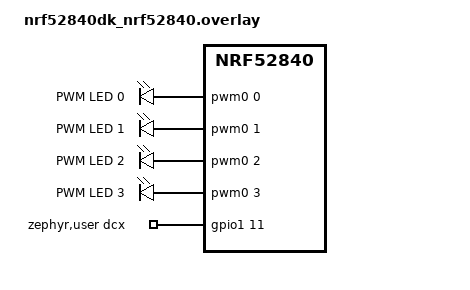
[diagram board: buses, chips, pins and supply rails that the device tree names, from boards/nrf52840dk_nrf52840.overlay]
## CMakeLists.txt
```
#-------------------------------------------------------------------------------
# Zephyr Example Application
#
# Copyright (c) 2021 Nordic Semiconductor ASA
# SPDX-License-Identifier: Apache-2.0

cmake_minimum_required(VERSION 3.13.1)
find_package(Zephyr REQUIRED HINTS $ENV{ZEPHYR_BASE})

project(app LANGUAGES C)

zephyr_include_directories(src)

target_sources(app PRIVATE src/main.c)
target_sources(app PRIVATE src/state_machine.c)
target_sources(app PRIVATE src/ble_peripheral.c)
```

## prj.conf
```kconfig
# Copyright (c) 2021 Nordic Semiconductor ASA
# SPDX-License-Identifier: Apache-2.0
#
# This file contains selected Kconfig options for the application.

CONFIG_GPIO=y
CONFIG_PWM=y
CONFIG_SMF=y
CONFIG_I2C=y

# BLE config
CONFIG_BT=y
CONFIG_BT_PERIPHERAL=y
CONFIG_BT_DEVICE_NAME="EiE 6248 Hardware Monitor"
CONFIG_SYSTEM_WORKQUEUE_STACK_SIZE=2048
# We need to increase buffer sizes to accomodate computer details strings
CONFIG_BT_BUF_ACL_RX_SIZE=67 
CONFIG_BT_L2CAP_TX_MTU=67

# LVGL config
CONFIG_DISPLAY=y
CONFIG_LVGL=y
CONFIG_LV_Z_MEM_POOL_SIZE=16384
CONFIG_MAIN_STACK_SIZE=4096
```

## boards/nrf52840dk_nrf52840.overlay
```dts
/ {
    pwmleds {
        compatible = "pwm-leds";
        pwm_led0: pwm_led_0 {
            pwms = <&pwm0 0 PWM_MSEC(20) PWM_POLARITY_NORMAL>;
            label = "PWM LED 0";
        };
        pwm_led1: pwm_led_1 {
            pwms = <&pwm0 1 PWM_MSEC(20) PWM_POLARITY_NORMAL>;
            label = "PWM LED 1";
        };
        pwm_led2: pwm_led_2 {
            pwms = <&pwm0 2 PWM_MSEC(20) PWM_POLARITY_NORMAL>;
            label = "PWM LED 2";
        };
        pwm_led3: pwm_led_3 {
            pwms = <&pwm0 3 PWM_MSEC(20) PWM_POLARITY_NORMAL>;
            label = "PWM LED 3";
        };
    };

    zephyr,user {
        dcx_gpios = <&gpio1 11 GPIO_ACTIVE_HIGH>; // Specific to the LCD, the dc/x pin, when HIGH, indicates data being sent *TO* the LCD
    };                                            // (active high, where active in this case means master-to-slave)

    arduino_spi {
        cs-gpios = <&gpio1 12 GPIO_ACTIVE_LOW>; // SPI peripherals are active when the pin is pulled to LOW (active low)
    };

    aliases {
        pwm-led0 = &pwm_led0;
        pwm-led1 = &pwm_led1;
        pwm-led2 = &pwm_led2;
        pwm-led3 = &pwm_led3;
    };
};

&pinctrl { 
    pwm0_default: pwm0_default {
		group1 {
			psels = 
                <NRF_PSEL(PWM_OUT0, 0, 13)>, 
                <NRF_PSEL(PWM_OUT1, 0, 14)>, 
                <NRF_PSEL(PWM_OUT2, 0, 15)>, 
                <NRF_PSEL(PWM_OUT3, 0, 16)>;
			nordic,invert;
		};
	};

    pwm0_sleep: pwm0_sleep {
		group1 {
			psels = 
                <NRF_PSEL(PWM_OUT0, 0, 13)>, 
                <NRF_PSEL(PWM_OUT1, 0, 14)>, 
                <NRF_PSEL(PWM_OUT2, 0, 15)>, 
                <NRF_PSEL(PWM_OUT3, 0, 16)>;
			low-power-enable;
		};
	};
};
```

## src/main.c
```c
/** 
 * @file main.c
 */

#include <inttypes.h>
#include <zephyr/kernel.h>
#include <zephyr/device.h>
#include <zephyr/drivers/i2c.h>
#include <zephyr/drivers/display.h>
#include <zephyr/sys/printk.h> 
#include <lvgl.h>

#include "touchscreen_defines.h"
#include "state_machine.h"
#include "ble_peripheral.h"
#include "BTN.h"
#include "LED.h"
#include "lv_data_obj.h"

/**
 * Local variables
 */

extern struct bt_data ble_advertising_data[];
extern struct bt_data ble_scan_response_data[];
extern size_t advertising_data_array_size;
extern size_t scan_response_data_array_size;
int err;


/*

Touchscreen-specific I2C setup

*/

static const struct device* i2c_dev = DEVICE_DT_GET(ARDUINO_I2C_NODE); // Select an I2C "device" from the on-board peripheral

// To send commands to and read responses from the I2C slave
void touch_control_cmd_rsp(uint8_t cmd, uint8_t* rsp) {
  struct i2c_msg cmd_rsp_msg[2] = {
    [0] = {.buf=&cmd, .len=1, .flags=I2C_MSG_WRITE},
    [1] = {.buf=rsp, .len=1, .flags=I2C_MSG_RESTART | I2C_MSG_READ | I2C_MSG_STOP}
  };

  // Send a command to and receive a response from the I2C slave 
  i2c_transfer(i2c_dev, cmd_rsp_msg, 2, TD_ADDR);
}

/*

LVGL setup

*/

// Retrieve the drivers for the LCD (ILI9341) from the Zephyr device tree
static const struct device* display_dev = DEVICE_DT_GET(DT_CHOSEN(zephyr_display));

// An LVGL object representing the LCD we will be displaying content onto
lv_obj_t* screen = NULL;

// To store the x and y position of a touch between checks
// We want these to be static so that the last touch position is stored instead of being set to (0, 0) every call
static uint16_t x_pos;
static uint16_t y_pos;

// LVGL callback that is called to check whether a button has been pressed
void touch_read_cb(lv_indev_t* indev, lv_indev_data_t* data) {
  /*
  LOGICAL STEPS:
  1. Read I2C touchscreen data
  2. Check if a valid touch is detected...
  3. Else if no touch is detected...
  */

  uint8_t touch_status;
  touch_control_cmd_rsp(TD_STATUS, &touch_status); // Get touchscreen status (is it ready?)

  // If screen is currently being held down
  if (touch_status == 1) {
    uint8_t x_pos_h;
    uint8_t x_pos_l;
    uint8_t y_pos_h;
    uint8_t y_pos_l;
    
    touch_control_cmd_rsp(P1_XH, &x_pos_h);
    touch_control_cmd_rsp(P1_XL, &x_pos_l);
    touch_control_cmd_rsp(P1_YH, &y_pos_h);
    touch_control_cmd_rsp(P1_YL, &y_pos_l);

    // Update the "last known" touch position, remember that coordinates are INVERTED on the LCD
    y_pos = ((x_pos_h & TOUCH_POS_MSB_MASK) << 8) + x_pos_l;
    x_pos = ((y_pos_h & TOUCH_POS_MSB_MASK) << 8) + y_pos_l;

    // Now that we know the x and y positions of a touch, send it to LVGL and report a touch
    data->point.x = x_pos;
    data->point.y = y_pos;
    data->state = LV_INDEV_STATE_PRESSED;
  }
  // If the screen isn't currently being touched (released)
  else if (touch_status == 0) {
    data->state = LV_INDEV_STATE_RELEASED;

    // We want to continue to record the last location where a press occured (static variables)
    // because LVGL inteprets a click as a sequence of press, hold, release all at the same x and y positions
    // If we didn't have static variables, and they were set to garbage or (0, 0), LVGL wouldn't properly
    // interpret that a click happened from a specific sequence of events
    data->point.x = x_pos;
    data->point.y = y_pos;

    printk("Press at %u, %u\n", x_pos, y_pos);
  }
}

int main(void) {
  /**
   * Initialization checks
   */

  // If the I2C peripheral is not yet ready
  if(!device_is_ready(i2c_dev)) {
    printk("I2C device not yet ready.\n");
    return 0;
  }

  // Configure I2C device with 100KHz clock on Master mode
  if(0 > i2c_configure(i2c_dev, I2C_SPEED_SET(I2C_SPEED_STANDARD) | I2C_MODE_CONTROLLER)) {
    printk("Error while configuring I2C device.\n");
  }

  if(!device_is_ready(display_dev)) {
    printk("LCD drivers not yet ready.\n");
    return 0;
  }

  // If we get to this point, the LCD drivers are ready and we can initialize the LVGL screen object
  screen = lv_screen_active();
  
  if (screen == NULL) {
    printk("Failed to initialize LVGL screen.\n");
    return 0;
  }

  // "Turn on" the screen so we can actually see things on it
  display_blanking_off(display_dev);

  // Initialize buttons
  if (0 > BTN_init()) {
    printk("Buttons not yet ready.\n");
    return 0;
  }

  // Initialize LEDs
  if (0 > LED_init()) {
    printk("LEDs not yet ready.\n");
    return 0;
  }
  
  // Enable BLE
  err = bt_enable(NULL);
  if (err) {
    printk("Bluetooth init failed (err %d)\n", err);
    return 0;
  } else {
    printk("Bluetooth initialized!\n");
  }

  // Start BLE advertising
  err =
      bt_le_adv_start(BT_LE_ADV_CONN_FAST_1, ble_advertising_data, advertising_data_array_size,
                      ble_scan_response_data, scan_response_data_array_size);
  if (err) {
    printk("Advertising failed to start (err %d)\n", err);
    return 0;
  }

  // Initialize the state machine
  state_machine_init();

  // Set up LVGL so that the button press callback is called every SLEEP_MS period
  // NOTE: "lv_indev" means "LVGL input device", and our input, a touchscreen is of type "pointer" (like a cursor)
  // lv_indev_t* indev = lv_indev_create();
  // lv_indev_set_type(indev, LV_INDEV_TYPE_POINTER);
  // lv_indev_set_read_cb(indev, touch_read_cb);

  // Run the state machine
  while (1) {
    if (0 > state_machine_run()) {
      printk("Error occured while running state machine.\n");
      return 0;
    }

    k_msleep(SLEEP_MS);
  }
  return 0;
}
```

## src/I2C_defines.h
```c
#ifndef I2C_DEFINES_H
#define I2C_DEFINES_H

// "Retrieve" the I2C peripheral from the device tree
#define ARDUINO_I2C_NODE DT_NODELABEL(arduino_i2c)   

// Touchscreen I2C registers
#define TD_ADDR 0x38  // "Touch device" I2C slave address
#define TD_STATUS 0x02
#define P1_XH 0x03
#define P1_XL 0x04
#define P1_YH 0x05
#define P1_YL 0x06

// Touchscreen relevant bit masks/shifts
#define TOUCH_EVENT_MASK 0xC0
#define TOUCH_POS_MSB_MASK 0x0F
#define TOUCH_EVENT_SHIFT 6

typedef enum {
  TOUCH_EVENT_PRESS_DOWN = 0b00u,
  TOUCH_EVENT_LIFT_UP = 0b01u,
  TOUCH_EVENT_CONTACT = 0b10u,
  TOUCH_EVENT_NO_EVENT = 0b11u
} touch_event_t;

#endif
```

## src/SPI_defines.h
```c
#ifndef SPI_DEFINES_H
#define SPI_DEFINES_H

// "Retrieve" the SPI peripheral from the device tree
#define ARDUINO_SPI_NODE DT_NODELABEL(arduino_spi)
#define ZEPHYR_USER_NODE DT_PATH(zephyr_user)

// LCD commands
#define CMD_SOFTWARE_RESET 0x01
#define CMD_SLEEP_OUT 0x11
#define CMD_DISPLAY_ON 0x29
#define CMD_COLUMN_ADDRESS_SET 0x2A
#define CMD_ROW_ADDRESS_SET 0x2B
#define CMD_MEMORY_WRITE 0x2C

#endif
```

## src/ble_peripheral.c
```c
/**
 * @file ble_peripheral.c
 */

#include "ble_peripheral.h"

/**
 * Local variables
 */

// Flag indicating whether or not there is new data for LVGL to re-draw onto the LCD
bool new_data = false;

// + 1 for the null terminators
char ble_system_details[BLE_CUSTOM_CHARACTERISTIC_MAX_DATA_LENGTH + 1];
char ble_cpu_details[BLE_CUSTOM_CHARACTERISTIC_MAX_DATA_LENGTH + 1];
char ble_gpu_details[BLE_CUSTOM_CHARACTERISTIC_MAX_DATA_LENGTH + 1];

static const struct bt_uuid_128 ble_hardware_monitor_service_uuid = BT_UUID_INIT_128(BLE_HARDWARE_MONITOR_SERVICE_UUID);

static const struct bt_uuid_128 ble_cpu_gpu_scalar_metrics_characteristic_uuid =
    BT_UUID_INIT_128(BLE_CPU_GPU_SCALAR_METRICS_CHARACTERISTIC);

static const struct bt_uuid_128 ble_network_scalar_metrics_characteristic_uuid =
    BT_UUID_INIT_128(BLE_NETWORK_SCALAR_METRICS_CHARACTERISTIC);

static const struct bt_uuid_128 ble_cpu_gpu_ram_percentage_metrics_characteristic_uuid =
    BT_UUID_INIT_128(BLE_CPU_GPU_RAM_PERCENTAGE_METRICS_CHARACTERISTIC);

static const struct bt_uuid_128 ble_system_details_characteristic_uuid =
    BT_UUID_INIT_128(BLE_SYSTEM_DETAILS_CHARACTERISTIC);

static const struct bt_uuid_128 ble_cpu_details_characteristic_uuid =
    BT_UUID_INIT_128(BLE_CPU_DETAILS_CHARACTERISTIC);

static const struct bt_uuid_128 ble_gpu_details_characteristic_uuid =
    BT_UUID_INIT_128(BLE_GPU_DETAILS_CHARACTERISTIC);

// Data actively advertised for GATT clients to see
const struct bt_data ble_advertising_data[] = {
    BT_DATA_BYTES(BT_DATA_FLAGS, (BT_LE_AD_GENERAL | BT_LE_AD_NO_BREDR)),
    BT_DATA_BYTES(BT_DATA_UUID128_ALL, BLE_HARDWARE_MONITOR_SERVICE_UUID),
};

// Data returned to a GATT client when our peripheral is scanned
const struct bt_data ble_scan_response_data[] = {
    BT_DATA(BT_DATA_NAME_COMPLETE, CONFIG_BT_DEVICE_NAME, sizeof(CONFIG_BT_DEVICE_NAME) - 1),
};

const size_t advertising_data_array_size = ARRAY_SIZE(ble_advertising_data);
const size_t scan_response_data_array_size = ARRAY_SIZE(ble_scan_response_data);

// Define structs that store the data written to our characteristics (we dont want them static as we need access to them in state machine)
cpu_gpu_scalar_metrics_t ble_cpu_gpu_scalar_metrics_characteristic_data;
network_scalar_metrics_t ble_network_scalar_metrics_characteristic_data;
cpu_gpu_ram_percentage_metrics_t ble_cpu_gpu_ram_percentage_metrics_characteristic_data;

/**
 * Prototypes
 */

// We only need a callback for when we're written to, as we don't ever return anything back to a connected GATT client
static ssize_t ble_cpu_gpu_scalar_metrics_write_cb(struct bt_conn* conn, const struct bt_gatt_attr* attr,
                                        const void* buf, uint16_t len, uint16_t offset,
                                        uint8_t flags);
                                        
static ssize_t ble_network_scalar_metrics_write_cb(struct bt_conn* conn, const struct bt_gatt_attr* attr,
                                        const void* buf, uint16_t len, uint16_t offset,
                                        uint8_t flags);

static ssize_t ble_cpu_gpu_ram_percentage_metrics_write_cb(struct bt_conn* conn, const struct bt_gatt_attr* attr,
                                        const void* buf, uint16_t len, uint16_t offset,
                                        uint8_t flags);

static ssize_t ble_system_details_write_cb(struct bt_conn* conn, const struct bt_gatt_attr* attr,
                                        const void* buf, uint16_t len, uint16_t offset,
                                        uint8_t flags);

static ssize_t ble_cpu_details_write_cb(struct bt_conn* conn, const struct bt_gatt_attr* attr,
                                        const void* buf, uint16_t len, uint16_t offset,
                                        uint8_t flags);
                                    
static ssize_t ble_gpu_details_write_cb(struct bt_conn* conn, const struct bt_gatt_attr* attr,
                                        const void* buf, uint16_t len, uint16_t offset,
                                        uint8_t flags);

/**
 * BLE service setup
 */

BT_GATT_SERVICE_DEFINE(
    ble_hardware_monitor_service, // Name of the struct that will store the config for this service
    BT_GATT_PRIMARY_SERVICE(&ble_hardware_monitor_service_uuid), // Setting the service UUID

    // Now to define the characteristics:

    // FOR CPU AND GPU SCALAR METRICS
    BT_GATT_CHARACTERISTIC(
        &ble_cpu_gpu_scalar_metrics_characteristic_uuid.uuid, // Setting the characteristic UUID
        BT_GATT_CHRC_WRITE_WITHOUT_RESP, // A connected GATT client can write to this characteristic, and we don't need to reply with an ack
        BT_GATT_PERM_WRITE, // Permissions that connecting devices have
        NULL, // We don't need a callback for reading as a client doesn't read our characteristics
        ble_cpu_gpu_scalar_metrics_write_cb, // Callback for when this characteristic is written to
        &ble_cpu_gpu_scalar_metrics_characteristic_data // Address where we want data stored for this characteristic
        ),

    // FOR NETWORK SCALAR METRICS
    BT_GATT_CHARACTERISTIC(
        &ble_network_scalar_metrics_characteristic_uuid.uuid, // Setting the characteristic UUID
        BT_GATT_CHRC_WRITE_WITHOUT_RESP, // A connected GATT client can write to this characteristic, and we don't need to reply with an ack
        BT_GATT_PERM_WRITE, // Permissions that connecting devices have
        NULL, // We don't need a callback for reading as a client doesn't read our characteristics
        ble_network_scalar_metrics_write_cb, // Callback for when this characteristic is written to
        &ble_network_scalar_metrics_characteristic_data // Address where we want data stored for this characteristic
        ),

    // FOR CPU, GPU AND RAM PERCENTAGE METRICS
    BT_GATT_CHARACTERISTIC(
        &ble_cpu_gpu_ram_percentage_metrics_characteristic_uuid.uuid, // Setting the characteristic UUID
        BT_GATT_CHRC_WRITE_WITHOUT_RESP, // A connected GATT client can write to this characteristic, and we don't need to reply with an ack
        BT_GATT_PERM_WRITE, // Permissions that connecting devices have
        NULL, // We don't need a callback for reading as a client doesn't read our characteristics
        ble_cpu_gpu_ram_percentage_metrics_write_cb, // Callback for when this characteristic is written to
        &ble_cpu_gpu_ram_percentage_metrics_characteristic_data // Address where we want data stored for this characteristic
        ),

    // FOR SYSTEM DETAILS
    BT_GATT_CHARACTERISTIC(
        &ble_system_details_characteristic_uuid.uuid, // Setting the characteristic UUID
        BT_GATT_CHRC_WRITE_WITHOUT_RESP, // A connected GATT client can write to this characteristic, and we don't need to reply with an ack
        BT_GATT_PERM_WRITE, // Permissions that connecting devices have
        NULL, // We don't need a callback for reading as a client doesn't read our characteristics
        ble_system_details_write_cb, // Callback for when this characteristic is written to
        &ble_system_details // Address where we want data stored for this characteristic
        ),

    // FOR CPU DETAILS
    BT_GATT_CHARACTERISTIC(
        &ble_cpu_details_characteristic_uuid.uuid, // Setting the characteristic UUID
        BT_GATT_CHRC_WRITE_WITHOUT_RESP, // A connected GATT client can write to this characteristic, and we don't need to reply with an ack
        BT_GATT_PERM_WRITE, // Permissions that connecting devices have
        NULL, // We don't need a callback for reading as a client doesn't read our characteristics
        ble_cpu_details_write_cb, // Callback for when this characteristic is written to
        &ble_cpu_details // Address where we want data stored for this characteristic
        ),

    // FOR GPU DETAILS
    BT_GATT_CHARACTERISTIC(
        &ble_gpu_details_characteristic_uuid.uuid, // Setting the characteristic UUID
        BT_GATT_CHRC_WRITE_WITHOUT_RESP, // A connected GATT client can write to this characteristic, and we don't need to reply with an ack
        BT_GATT_PERM_WRITE, // Permissions that connecting devices have
        NULL, // We don't need a callback for reading as a client doesn't read our characteristics
        ble_gpu_details_write_cb, // Callback for when this characteristic is written to
        &ble_gpu_details // Address where we want data stored for this characteristic
        ),
    // End of service definition
);

/**
 * Write callback definitions
 */

static ssize_t ble_cpu_gpu_scalar_metrics_write_cb(struct bt_conn* conn, const struct bt_gatt_attr* attr,
                                        const void* buf, uint16_t len, uint16_t offset,
                                        uint8_t flags) {
    /**
     * conn: pointer representing the BLE connection to the GATT client
     * attr: points to the characteristic being written to defined in BT_GATT_SERVICE_DEFINE, attr->user_data POINTS to the struct holding the actual data
     * buf: raw bytestream coming from GATT client
     * len: length of the bytestream coming from the GATT client
     * offset: only matters if incoming bytestream is greater than maximum per write (20 bytes), which we won't allow so we can ignore this
     * flags: indicates type of BLE write (in this case, Write Without Response), not important
     */

    // If data received is over the maximum we expect
    if (len != sizeof(cpu_gpu_scalar_metrics_t) || offset != 0) {
        printk("[BLE] ble_cpu_gpu_scalar_metrics_write_cb: Received oversized data.\n");
        return BT_GATT_ERR(BT_ATT_ERR_OUT_OF_RANGE);
    }

    // Since each incoming metric is packed in its own uint32_t with no need to consider padding, we can simply write all incoming bytes
    // directly into attr->user_data with one line of code which will store each metric into each struct attribute in Little-Endian order (LSB first)
    memcpy(attr->user_data, buf, len);
    printk("Received CPU and GPU scalar metrics from GATT client.\n");

    // Indicate to LVGL that new data is available to process
    new_data = true;

    return len;
};
                                        
static ssize_t ble_network_scalar_metrics_write_cb(struct bt_conn* conn, const struct bt_gatt_attr* attr,
                                        const void* buf, uint16_t len, uint16_t offset,
                                        uint8_t flags) {
    /**
     * conn: pointer representing the BLE connection to the GATT client
     * attr: points to the characteristic being written to defined in BT_GATT_SERVICE_DEFINE, attr->user_data POINTS to the struct holding the actual data
     * buf: raw bytestream coming from GATT client
     * len: length of the bytestream coming from the GATT client
     * offset: only matters if incoming bytestream is greater than maximum per write (20 bytes), which we won't allow so we can ignore this
     * flags: indicates type of BLE write (in this case, Write Without Response), not important
     */

    // If data received is over the maximum we expect
    if (len != sizeof(network_scalar_metrics_t) || offset != 0) {
        printk("[BLE] ble_network_scalar_metrics_write_cb: Received oversized data.\n");
        return BT_GATT_ERR(BT_ATT_ERR_OUT_OF_RANGE);
    }

    // Since each incoming metric is packed in its own uint32_t with no need to consider padding, we can simply write all incoming bytes
    // directly into attr->user_data with one line of code which will store each metric into each struct attribute in Little-Endian order (LSB first)
    memcpy(attr->user_data, buf, len);
    printk("Received network scalar metrics from GATT client.\n");

    // Indicate to LVGL that new data is available to process
    new_data = true;

    return len;
};

static ssize_t ble_cpu_gpu_ram_percentage_metrics_write_cb(struct bt_conn* conn, const struct bt_gatt_attr* attr,
                                        const void* buf, uint16_t len, uint16_t offset,
                                        uint8_t flags) {
    /**
     * conn: pointer representing the BLE connection to the GATT client
     * attr: points to the characteristic being written to defined in BT_GATT_SERVICE_DEFINE, attr->user_data POINTS to the struct holding the actual data
     * buf: raw bytestream coming from GATT client
     * len: length of the bytestream coming from the GATT client
     * offset: only matters if incoming bytestream is greater than maximum per write (20 bytes), which we won't allow so we can ignore this
     * flags: indicates type of BLE write (in this case, Write Without Response), not important
     */ 

    // If data received is over the maximum we expect
    if (len != sizeof(cpu_gpu_ram_percentage_metrics_t) || offset != 0) {
        printk("[BLE] ble_cpu_gpu_ram_percentage_metrics_write_cb: Received oversized data.\n");
        return BT_GATT_ERR(BT_ATT_ERR_OUT_OF_RANGE);
    }

    // Since each incoming metric is packed in its own uint32_t with no need to consider padding, we can simply write all incoming bytes
    // directly into attr->user_data with one line of code which will store each metric into each struct attribute in Little-Endian order (LSB first)
    memcpy(attr->user_data, buf, len);
    printk("Received CPU, GPU and RAM percentage metrics from GATT client.\n");

    // Indicate to LVGL that new data is available to process
    new_data = true;
     
    return len;
};

static ssize_t ble_system_details_write_cb(struct bt_conn* conn, const struct bt_gatt_attr* attr,
                                        const void* buf, uint16_t len, uint16_t offset,
                                        uint8_t flags) {
    /**
     * conn: pointer representing the BLE connection to the GATT client
     * attr: points to the characteristic being written to defined in BT_GATT_SERVICE_DEFINE, attr->user_data POINTS to the struct holding the actual data
     * buf: raw bytestream coming from GATT client
     * len: length of the bytestream coming from the GATT client
     * offset: only matters if incoming bytestream is greater than maximum per write (20 bytes), which we won't allow so we can ignore this
     * flags: indicates type of BLE write (in this case, Write Without Response), not important
     */ 

    // If data received is over the maximum we can receive
    if(offset != 0 || len > BLE_CUSTOM_CHARACTERISTIC_MAX_DATA_LENGTH) {
        printk("[BLE] ble_system_details_write_cb: Received oversized data.\n");
        return BT_GATT_ERR(BT_ATT_ERR_OUT_OF_RANGE);
    }

    char* data = attr->user_data;

    // Copy and save received strings
    memcpy(data, buf, len);
    data[len] = 0; // null termination
    printk("Received system details from GATT client.\n");

    // Indicate to LVGL that new data is available to process
    new_data = true;

    return len;
}

static ssize_t ble_cpu_details_write_cb(struct bt_conn* conn, const struct bt_gatt_attr* attr,
                                        const void* buf, uint16_t len, uint16_t offset,
                                        uint8_t flags) {
    /**
     * conn: pointer representing the BLE connection to the GATT client
     * attr: points to the characteristic being written to defined in BT_GATT_SERVICE_DEFINE, attr->user_data POINTS to the struct holding the actual data
     * buf: raw bytestream coming from GATT client
     * len: length of the bytestream coming from the GATT client
     * offset: only matters if incoming bytestream is greater than maximum per write (20 bytes), which we won't allow so we can ignore this
     * flags: indicates type of BLE write (in this case, Write Without Response), not important
     */ 

    // If data received is over the maximum we can receive
    if(offset != 0 || len > BLE_CUSTOM_CHARACTERISTIC_MAX_DATA_LENGTH) {
        printk("[BLE] ble_cpu_details_write_cb: Received oversized data.\n");
        return BT_GATT_ERR(BT_ATT_ERR_OUT_OF_RANGE);
    }

    char* data = attr->user_data;

    // Copy and save received strings
    memcpy(data, buf, len);
    data[len] = 0; // null termination
    printk("Received CPU details from GATT client.\n");

    // Indicate to LVGL that new data is available to process
    new_data = true;

    return len;
}
                                    
static ssize_t ble_gpu_details_write_cb(struct bt_conn* conn, const struct bt_gatt_attr* attr,
                                        const void* buf, uint16_t len, uint16_t offset,
                                        uint8_t flags) {
    /**
     * conn: pointer representing the BLE connection to the GATT client
     * attr: points to the characteristic being written to defined in BT_GATT_SERVICE_DEFINE, attr->user_data POINTS to the struct holding the actual data
     * buf: raw bytestream coming from GATT client
     * len: length of the bytestream coming from the GATT client
     * offset: only matters if incoming bytestream is greater than maximum per write (20 bytes), which we won't allow so we can ignore this
     * flags: indicates type of BLE write (in this case, Write Without Response), not important
     */ 

    // If data received is over the maximum we can receive
    if(offset != 0 || len > BLE_CUSTOM_CHARACTERISTIC_MAX_DATA_LENGTH) {
        printk("[BLE] ble_gpu_details_write_cb: Received oversized data.\n");
        return BT_GATT_ERR(BT_ATT_ERR_OUT_OF_RANGE);
    }

    char* data = attr->user_data;

    // Copy and save received strings
    memcpy(data, buf, len);
    data[len] = 0; // null termination
    printk("Received GPU details from GATT client.\n");

    // Indicate to LVGL that new data is available to process
    new_data = true;

    return len;
}
```

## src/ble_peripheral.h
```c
/**
 * @file ble_peripheral.h
 */

#ifndef BLE_PERIPHERAL_H
#define BLE_PERIPHERAL_H

/**
 * Includes
 */

#include <zephyr/bluetooth/bluetooth.h>
#include <zephyr/bluetooth/conn.h>
#include <zephyr/bluetooth/gatt.h>
#include <zephyr/bluetooth/hci.h>
#include <zephyr/bluetooth/uuid.h>

#define BLE_CUSTOM_CHARACTERISTIC_MAX_DATA_LENGTH 64

/**
 * Typedefs
 */

typedef struct {
    uint32_t cpu_clock_mhz; // LSB (start write)
    uint32_t cpu_power_watts;
    uint32_t cpu_temp_celsius;
    uint32_t gpu_temp_celsius; // MSB (end write)
} cpu_gpu_scalar_metrics_t;

typedef struct {
    uint32_t network_down_bits; // LSB (start write)
    uint32_t network_up_bits; // MSB (end write)
} network_scalar_metrics_t;

typedef struct {
    uint32_t cpu_usage_percent; // LSB (start write)
    uint32_t gpu_usage_percent;
    uint32_t ram_usage_percent; // MSB (end write)
} cpu_gpu_ram_percentage_metrics_t;

// + 1 for the null terminators
extern char ble_system_details[BLE_CUSTOM_CHARACTERISTIC_MAX_DATA_LENGTH + 1];
extern char ble_cpu_details[BLE_CUSTOM_CHARACTERISTIC_MAX_DATA_LENGTH + 1];
extern char ble_gpu_details[BLE_CUSTOM_CHARACTERISTIC_MAX_DATA_LENGTH + 1];

/**
 * Service and Characteristic Setup
 */

#define BLE_HARDWARE_MONITOR_SERVICE_UUID \
    BT_UUID_128_ENCODE(0x01928374, 0x1234, 0x5678, 0x1234, 0x56789abcdef0)

#define BLE_CPU_GPU_SCALAR_METRICS_CHARACTERISTIC \
    BT_UUID_128_ENCODE(0x01928374, 0x1234, 0x5678, 0x1234, 0x56789abcdef1)

#define BLE_NETWORK_SCALAR_METRICS_CHARACTERISTIC \
    BT_UUID_128_ENCODE(0x01928374, 0x1234, 0x5678, 0x1234, 0x56789abcdef2)

#define BLE_CPU_GPU_RAM_PERCENTAGE_METRICS_CHARACTERISTIC \
    BT_UUID_128_ENCODE(0x01928374, 0x1234, 0x5678, 0x1234, 0x56789abcdef3)

#define BLE_SYSTEM_DETAILS_CHARACTERISTIC \
    BT_UUID_128_ENCODE(0x01928374, 0x1234, 0x5678, 0x1234, 0x56789abcdef4)

#define BLE_CPU_DETAILS_CHARACTERISTIC \
    BT_UUID_128_ENCODE(0x01928374, 0x1234, 0x5678, 0x1234, 0x56789abcdef5)

#define BLE_GPU_DETAILS_CHARACTERISTIC \
    BT_UUID_128_ENCODE(0x01928374, 0x1234, 0x5678, 0x1234, 0x56789abcdef6)

#endif
```

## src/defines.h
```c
#ifndef DEFINES_H
#define DEFINES_H

#define SLEEP_MS 100

#endif
```

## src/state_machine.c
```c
/**
 * @file state_machine.c
 */

#include "state_machine.h"

/**
 * Function prototypes
 * 
 * (Declare any functions here that are only to be used within this source file and nowhere else)
 */

// Main menu
static void main_menu_on_state_entry(void* o);
static enum smf_state_result main_menu_on_state_run(void* o);

// Performance metrics page
static void performance_metrics_on_state_entry(void* o);
static enum smf_state_result performance_metrics_on_state_run(void* o);

// Computer details page
static void computer_details_on_state_entry(void* o);
static enum smf_state_result computer_details_on_state_run(void* o);

// Button press menu transition callback
void lv_change_menu_cb(lv_event_t* event);

/**
 * Typedefs
 */

enum ui_state_machine_states {
    MAIN_MENU,
    PERFORMANCE_METRICS,
    COMPUTER_DETAILS
};

// Object that Zephyr uses to keep track of current state (this is what is constantly ran inside the super loop)
typedef struct {
    // Context variable used by Zephyr to track state machine state, must be declared first
    struct smf_ctx ctx;

    // Other variables that can help in keeping track of proper state should be added here

} ui_state_object_t;

/**
 * Local variables
 */

// Flag indicating whether or not there is new data for LVGL to re-draw onto the LCD
extern bool new_data;

// Structs that contain metrics incoming from a GATT client
extern cpu_gpu_scalar_metrics_t ble_cpu_gpu_scalar_metrics_characteristic_data;
extern network_scalar_metrics_t ble_network_scalar_metrics_characteristic_data;
extern cpu_gpu_ram_percentage_metrics_t ble_cpu_gpu_ram_percentage_metrics_characteristic_data;

// Struct representing the menu "back" button
static const struct gpio_dt_spec button = GPIO_DT_SPEC_GET(SW0_NODE, gpios);

// Static struct that holds the current state to run during runtime
static ui_state_object_t ui_state_object;

// An LVGL object representing the LCD we will be displaying content onto
extern lv_obj_t* screen;

// Struct definition to organize our performance metrics data to display onto our LCD
typedef struct {
    // The only things that should be stored in this struct are labels/text that need to be constantly updated during runtime,
    // i.e. our performance metrics updated over bluetooth

    // Scalar metrics (top container)
    lv_obj_t* label_cpu_clock;
    lv_obj_t* label_cpu_power;
    lv_obj_t* label_cpu_temp;
    lv_obj_t* label_gpu_temp;
    lv_obj_t* label_net_upload;
    lv_obj_t* label_net_download;
    
    // Percentage-range metrics (bottom container)
    lv_obj_t* bar_cpu_usage;
    lv_obj_t* cpu_usage_title;
    lv_obj_t* bar_gpu_usage;
    lv_obj_t* gpu_usage_title;
    lv_obj_t* bar_ram_usage;
    lv_obj_t* ram_usage_title;
} perf_metrics_ui_t;

typedef struct {
    lv_obj_t* label_system_details;
    lv_obj_t* label_cpu_details;
    lv_obj_t* label_gpu_details;
} computer_details_ui_t;


// Static struct that ACTUALLY holds our performance metrics data that we're updated during runtime
static perf_metrics_ui_t perf_metrics_ui;
static computer_details_ui_t computer_details_ui;

// Struct that holds the actual states that Zephyr will traverse throughout runtime
static const struct smf_state ui_states[] = {
    [MAIN_MENU] = SMF_CREATE_STATE(main_menu_on_state_entry, main_menu_on_state_run, NULL, NULL, NULL),
    [PERFORMANCE_METRICS] = SMF_CREATE_STATE(performance_metrics_on_state_entry, performance_metrics_on_state_run, NULL, NULL, NULL),
    [COMPUTER_DETAILS] = SMF_CREATE_STATE(computer_details_on_state_entry, computer_details_on_state_run, NULL, NULL, NULL)
};

// Indicates the next state to transition to
static enum ui_state_machine_states next_state = -1; // -1 indicates no state change request

// Objects that hold the enum value of states that can be transitioned to for button callback pointers
static enum ui_state_machine_states perf_metrics_state = PERFORMANCE_METRICS;
static enum ui_state_machine_states computer_details_state = COMPUTER_DETAILS;

void state_machine_init() {
    // Set initial state to be the main menu
    smf_set_initial(SMF_CTX(&ui_state_object), &ui_states[MAIN_MENU]);
}

int state_machine_run() {
    // When we run the state machine, we just want to return the state currently held in the ui_state_object
    return smf_run_state(SMF_CTX(&ui_state_object));
}

// Definition of button press menu transition callback
void lv_change_menu_cb(lv_event_t* event) {
    // Retrieve the next state data from the associated button
    lv_obj_t* transition_state_obj = (lv_obj_t*) lv_event_get_user_data(event);
    enum ui_state_machine_states transition_state_data = *(enum ui_state_machine_states*) lv_data_obj_get_data_ptr(transition_state_obj);

    // Transition to the next state
    next_state = transition_state_data;
}

/**
 * Main menu states
 */

static void main_menu_on_state_entry(void* o) {
    // Clear any existing screen contents to display the new menu
    lv_obj_clean(screen);

    // We would initialize objects to display onto the LVGL screen here
    // for (uint8_t i = 0; i < HOME_SCREEN_BUTTONS; i++) {
    //     lv_obj_t* ui_btn = lv_button_create(screen); // Add a button to the screen

    //     // Place the buttons in the center of the screen
    //     lv_obj_align(ui_btn, LV_ALIGN_CENTER, 0, VERTICAL_SPACING_MULTIPLIER * (i % 2 ? 1 : -1));

    //     // Add text to the button
    //     lv_obj_t* button_label = lv_label_create(ui_btn); 
    //     char label_text[BUTTON_TEXT_MAX_LENGTH];
    //     snprintf(label_text, BUTTON_TEXT_MAX_LENGTH, i % 2 ? "Performance Metrics" : "Computer Details");
    //     lv_label_set_text(button_label, label_text);
    //     lv_obj_align(button_label, LV_ALIGN_CENTER, 0, 0);
    // }

    lv_obj_t* button_container = lv_obj_create(screen);
    lv_obj_set_size(button_container, lv_pct(100), lv_pct(100));
    lv_obj_set_flex_flow(button_container, LV_FLEX_FLOW_COLUMN); // Display objects neatly top-to-bottom with flex
    lv_obj_set_flex_align(button_container, LV_FLEX_ALIGN_SPACE_EVENLY, LV_FLEX_ALIGN_CENTER,
        LV_FLEX_ALIGN_CENTER);

    // We want the buttons to be directly in the center of the screen
    lv_obj_set_align(button_container, LV_ALIGN_CENTER);
    
    // Create the Performance Metrics navigation button and associate the state
    lv_obj_t* perf_metrics_button = lv_button_create(button_container);
    lv_obj_t* perf_metrics_text = lv_label_create(perf_metrics_button); // add the button text
    lv_label_set_text(perf_metrics_text, "Performance Metrics");
    
    // Data to send to the menu change callback when the button is clicked
    lv_obj_t* perf_state = lv_data_obj_create_alloc_assign(perf_metrics_button, &perf_metrics_state, sizeof(PERFORMANCE_METRICS));

    // When the Performance Metrics button is clicked, we want to transition to that state/menu
    lv_obj_add_event_cb(perf_metrics_button, lv_change_menu_cb, LV_EVENT_CLICKED, perf_state);

    // Create the Computer Details button and associate the state
    lv_obj_t* computer_details_button = lv_button_create(button_container);
    lv_obj_t* computer_details_text = lv_label_create(computer_details_button); // add the button text
    lv_label_set_text(computer_details_text, "Computer Details");

    // Data to send to the menu change callback when the button is clicked
    lv_obj_t* details_state = lv_data_obj_create_alloc_assign(computer_details_button, &computer_details_state, sizeof(COMPUTER_DETAILS));

    // When the Computer Details button is clicked, we want to transition to that state/menu
    lv_obj_add_event_cb(computer_details_button, lv_change_menu_cb, LV_EVENT_CLICKED, details_state);
}

static enum smf_state_result main_menu_on_state_run(void* o) {
    lv_timer_handler();
    
    if (next_state == PERFORMANCE_METRICS) {
        next_state = -1; // Clear the next state flag since we're now handling the transition
        smf_set_state(SMF_CTX(&ui_state_object), &ui_states[PERFORMANCE_METRICS]);
    }
    else if (next_state == COMPUTER_DETAILS) {
        next_state = -1; // Clear the next state flag since we're now handling the transition
        smf_set_state(SMF_CTX(&ui_state_object), &ui_states[COMPUTER_DETAILS]);
    }

    return SMF_EVENT_HANDLED;
}

/**
 * Performance metrics states
 */
static void performance_metrics_on_state_entry(void* o) {
    // Clear any existing screen contents to display the new menu
    lv_obj_clean(screen);

    // FLEX LAYOUTS should be used to organize UI widgets/elements, not hard-coded coordinates

    // Declare and initialize UI components here (when they're actually needed) so that RAM isn't wasted storing unused variables.
    // Similar to initializing and adding buttons to the screen in main_menu_entry, adding components to the "screen" here actually
    // adds them to the heap which LVGL handles on its own end. The components are NOT purely local stack variables just because
    // they're declared within this function. In reality, they persist on the heap until "cleared".

    /**
     * An exception to the above statements is our metrics widgets that must be constantly updated via bluetooth. These
     * metrics need to be explicitly declared statically similar to our "screen" variable so that their data is persistent 
     * throughout runtime since these hold actual data unlike other LVGL components which are essentially purely visual.
     * These metrics will be "fed" to the visual LVGL components to display metrics on our LCD.
     */

    /**
     * Top container initialization (scalar metrics)
     */

    lv_obj_t* perf_top_container = lv_obj_create(screen);
    lv_obj_set_size(perf_top_container, lv_pct(100), lv_pct(50));
    lv_obj_set_flex_flow(perf_top_container, LV_FLEX_FLOW_ROW_WRAP); // Display objects neatly side-by-side with flex
    lv_obj_set_flex_align(perf_top_container, LV_FLEX_ALIGN_SPACE_EVENLY, LV_FLEX_ALIGN_CENTER,
        LV_FLEX_ALIGN_CENTER);

    // Anchor this to the TOP of the screen so it actually appears on top
    lv_obj_align(perf_top_container, LV_ALIGN_TOP_MID, 0, 0);

    // Create labels, add to our static metrics struct so that we can update them with new data (via bluetooth) later.
    // These labels should be children of the container so they are contained within them.
    perf_metrics_ui.label_cpu_clock = lv_label_create(perf_top_container);
    lv_label_set_text(perf_metrics_ui.label_cpu_clock, "CPU Clock: -- MHz"); 

    perf_metrics_ui.label_cpu_power = lv_label_create(perf_top_container);
    lv_label_set_text(perf_metrics_ui.label_cpu_power, "CPU Power: -- W");

    perf_metrics_ui.label_cpu_temp = lv_label_create(perf_top_container);
    lv_label_set_text(perf_metrics_ui.label_cpu_temp, "CPU Temp: --°C");
    
    perf_metrics_ui.label_gpu_temp = lv_label_create(perf_top_container);
    lv_label_set_text(perf_metrics_ui.label_gpu_temp, "GPU Temp: --°C");

    perf_metrics_ui.label_net_download = lv_label_create(perf_top_container);
    lv_label_set_text(perf_metrics_ui.label_net_download, "Net Down: -- Kb/s");

    perf_metrics_ui.label_net_upload = lv_label_create(perf_top_container);
    lv_label_set_text(perf_metrics_ui.label_net_upload, "Net Up: -- Kb/s");

    /**
     * Bottom container initialization (percentage-based metrics)
     */

    lv_obj_t* perf_bottom_container = lv_obj_create(screen);
    lv_obj_set_size(perf_bottom_container, lv_pct(100), lv_pct(50));
    lv_obj_set_flex_flow(perf_bottom_container, LV_FLEX_FLOW_COLUMN); // Display bars nearly top-to-bottom in a vertical stack
    lv_obj_set_flex_align(perf_bottom_container, LV_FLEX_ALIGN_SPACE_EVENLY, LV_FLEX_ALIGN_CENTER,
         LV_FLEX_ALIGN_CENTER);

    // Anchor this to the BOTTOM of the screen so it actually appears on the bottom
    lv_obj_align(perf_bottom_container, LV_ALIGN_BOTTOM_MID, 0, 0);

    perf_metrics_ui.cpu_usage_title = lv_label_create(perf_bottom_container);
    lv_label_set_text(perf_metrics_ui.cpu_usage_title, "CPU Usage: --%");

    // Dynamic CPU usage percentage bar (store in static struct for future updates)
    perf_metrics_ui.bar_cpu_usage = lv_bar_create(perf_bottom_container);
    lv_obj_set_size(perf_metrics_ui.bar_cpu_usage, lv_pct(90), 20);
    lv_bar_set_range(perf_metrics_ui.bar_cpu_usage, 0, 100);

    perf_metrics_ui.gpu_usage_title = lv_label_create(perf_bottom_container);
    lv_label_set_text(perf_metrics_ui.gpu_usage_title, "GPU Usage: --%");

    // Dynamic GPU usage percentage bar (store in static struct for future updates)
    perf_metrics_ui.bar_gpu_usage = lv_bar_create(perf_bottom_container);
    lv_obj_set_size(perf_metrics_ui.bar_gpu_usage, lv_pct(90), 20);
    lv_bar_set_range(perf_metrics_ui.bar_gpu_usage, 0, 100);

    perf_metrics_ui.ram_usage_title = lv_label_create(perf_bottom_container);
    lv_label_set_text(perf_metrics_ui.ram_usage_title, "RAM Usage: --%");         

    // Dynamic RAM usage percentage bar (store in static struct for future updates)
    perf_metrics_ui.bar_ram_usage = lv_bar_create(perf_bottom_container);
    lv_obj_set_size(perf_metrics_ui.bar_ram_usage, lv_pct(90), 20);
    lv_bar_set_range(perf_metrics_ui.bar_ram_usage, 0, 100);

}

static enum smf_state_result performance_metrics_on_state_run(void* o) {
    lv_timer_handler();
    
    if (gpio_pin_get_dt(&button)) {
        // Go back to the main menu
        smf_set_state(SMF_CTX(&ui_state_object), &ui_states[MAIN_MENU]);
    }
    else if (new_data) {
        // Acknowledge incoming hardware metrics ONLY IF NEW DATA IS AVAILABLE
        new_data = false;

        // Process incoming scalar metrics
        char cpu_clock_text[METRIC_MAX_LENGTH];
        char cpu_power_text[METRIC_MAX_LENGTH];
        char cpu_temp_text[METRIC_MAX_LENGTH];
        char gpu_temp_text[METRIC_MAX_LENGTH];
        char network_down_text[METRIC_MAX_LENGTH];
        char network_up_text[METRIC_MAX_LENGTH];

        snprintf(cpu_clock_text, sizeof(cpu_clock_text), "CPU Clock: %u MHz", ble_cpu_gpu_scalar_metrics_characteristic_data.cpu_clock_mhz);
        snprintf(cpu_power_text, sizeof(cpu_power_text), "CPU Power: %u W", ble_cpu_gpu_scalar_metrics_characteristic_data.cpu_power_watts);
        snprintf(cpu_temp_text, sizeof(cpu_temp_text), "CPU Temp: %u°C", ble_cpu_gpu_scalar_metrics_characteristic_data.cpu_temp_celsius);
        snprintf(gpu_temp_text, sizeof(gpu_temp_text), "GPU Temp: %u°C", ble_cpu_gpu_scalar_metrics_characteristic_data.gpu_temp_celsius);
        snprintf(network_down_text, sizeof(network_down_text), "Net Down: %u Kb/s", ble_network_scalar_metrics_characteristic_data.network_down_bits);
        snprintf(network_up_text, sizeof(network_up_text), "Net Up: %u Kb/s", ble_network_scalar_metrics_characteristic_data.network_up_bits);

        lv_label_set_text(perf_metrics_ui.label_cpu_clock, cpu_clock_text); 
        lv_label_set_text(perf_metrics_ui.label_cpu_power, cpu_power_text);
        lv_label_set_text(perf_metrics_ui.label_cpu_temp, cpu_temp_text);
        lv_label_set_text(perf_metrics_ui.label_gpu_temp, gpu_temp_text);
        lv_label_set_text(perf_metrics_ui.label_net_download, network_down_text);
        lv_label_set_text(perf_metrics_ui.label_net_upload, network_up_text);

        // Process percentage metrics
        char cpu_usage_text[METRIC_MAX_LENGTH];
        char gpu_usage_text[METRIC_MAX_LENGTH];
        char ram_usage_text[METRIC_MAX_LENGTH];

        snprintf(cpu_usage_text, sizeof(cpu_usage_text), "CPU Usage: %u%%", ble_cpu_gpu_ram_percentage_metrics_characteristic_data.cpu_usage_percent);
        snprintf(gpu_usage_text, sizeof(gpu_usage_text), "GPU Usage: %u%%", ble_cpu_gpu_ram_percentage_metrics_characteristic_data.gpu_usage_percent);
        snprintf(ram_usage_text, sizeof(ram_usage_text), "RAM Usage: %u%%", ble_cpu_gpu_ram_percentage_metrics_characteristic_data.ram_usage_percent);

        lv_label_set_text(perf_metrics_ui.cpu_usage_title, cpu_usage_text);
        lv_label_set_text(perf_metrics_ui.gpu_usage_title, gpu_usage_text);
        lv_label_set_text(perf_metrics_ui.ram_usage_title, ram_usage_text);

        lv_bar_set_value(perf_metrics_ui.bar_cpu_usage, ble_cpu_gpu_ram_percentage_metrics_characteristic_data.cpu_usage_percent, LV_ANIM_ON);
        lv_bar_set_value(perf_metrics_ui.bar_gpu_usage, ble_cpu_gpu_ram_percentage_metrics_characteristic_data.gpu_usage_percent, LV_ANIM_ON);
        lv_bar_set_value(perf_metrics_ui.bar_ram_usage, ble_cpu_gpu_ram_percentage_metrics_characteristic_data.ram_usage_percent, LV_ANIM_ON);
    }

    return SMF_EVENT_HANDLED;
}

/**
 * Computer details states
 */
static void computer_details_on_state_entry(void* o) {
    // Clear any existing screen contents to display the new menu
    lv_obj_clean(screen);

    // FLEX LAYOUTS should be used to organize UI widgets/elements, not hard-coded coordinates

    // Declare and initialize UI components here (when they're actually needed) so that RAM isn't wasted storing unused variables.
    // Similar to initializing and adding buttons to the screen in main_menu_entry, adding components to the "screen" here actually
    // adds them to the heap which LVGL handles on its own end. The components are NOT purely local stack variables just because
    // they're declared within this function. In reality, they persist on the heap until "cleared".

    /**
     * An exception to the above statements is our metrics widgets that must be constantly updated via bluetooth. These
     * metrics need to be explicitly declared statically similar to our "screen" variable so that their data is persistent 
     * throughout runtime since these hold actual data unlike other LVGL components which are essentially purely visual.
     * These metrics will be "fed" to the visual LVGL components to display metrics on our LCD.
     */

    lv_obj_t* details_container = lv_obj_create(screen);
    lv_obj_set_size(details_container, lv_pct(100), lv_pct(100));
    lv_obj_set_flex_flow(details_container, LV_FLEX_FLOW_COLUMN); // Display objects neatly side-by-side with flex
    lv_obj_set_flex_align(details_container, LV_FLEX_ALIGN_SPACE_EVENLY, LV_FLEX_ALIGN_CENTER,
        LV_FLEX_ALIGN_CENTER);
    lv_obj_set_style_pad_all(details_container, 20, 0);

    computer_details_ui.label_system_details = lv_label_create(details_container);
    lv_label_set_text(computer_details_ui.label_system_details, "System: --");

    computer_details_ui.label_cpu_details = lv_label_create(details_container);
    lv_label_set_text(computer_details_ui.label_cpu_details, "CPU: --");

    computer_details_ui.label_gpu_details = lv_label_create(details_container);
    lv_label_set_text(computer_details_ui.label_gpu_details, "GPU: --");
}

static enum smf_state_result computer_details_on_state_run(void* o) {
    lv_timer_handler();
    
    if (gpio_pin_get_dt(&button)) {
        // Go back to the main menu
        smf_set_state(SMF_CTX(&ui_state_object), &ui_states[MAIN_MENU]);
    }
    else if (new_data) {
        new_data = false; // acknowledge that we are processing data

        char system_details_text[METRIC_MAX_LENGTH];
        char cpu_details_text[METRIC_MAX_LENGTH];
        char gpu_details_text[METRIC_MAX_LENGTH];

        snprintf(system_details_text, sizeof(system_details_text), "System: %s", ble_system_details);
        snprintf(cpu_details_text, sizeof(cpu_details_text), "CPU: %s", ble_cpu_details);
        snprintf(gpu_details_text, sizeof(gpu_details_text), "GPU: %s", ble_gpu_details);

        lv_label_set_text(computer_details_ui.label_system_details, system_details_text);
        lv_label_set_text(computer_details_ui.label_cpu_details, cpu_details_text);
        lv_label_set_text(computer_details_ui.label_gpu_details, gpu_details_text);
    }

    return SMF_EVENT_HANDLED;
}
```

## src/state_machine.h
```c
/**
 * @file state_machine.h
 */

#ifndef STATE_MACHINE_H
#define STATE_MACHINE_H

/**
 * Includes
 */

#include <zephyr/smf.h>
#include <zephyr/drivers/display.h>
#include <zephyr/drivers/gpio.h>
#include <lvgl.h>

#include "touchscreen_defines.h"
#include "lv_data_obj.h"
#include "BTN.h"
#include "ble_peripheral.h"

/**
 * Function prototypes
 * 
 * (Declare any functions here that will be used in main.c)
 */

void state_machine_init();

int state_machine_run();

/**
 * Defines
 */

#define SW0_NODE DT_ALIAS(sw0) // device tree identifier for button 0 (physical button 1)
#define METRIC_MAX_LENGTH 64

#endif  
```
